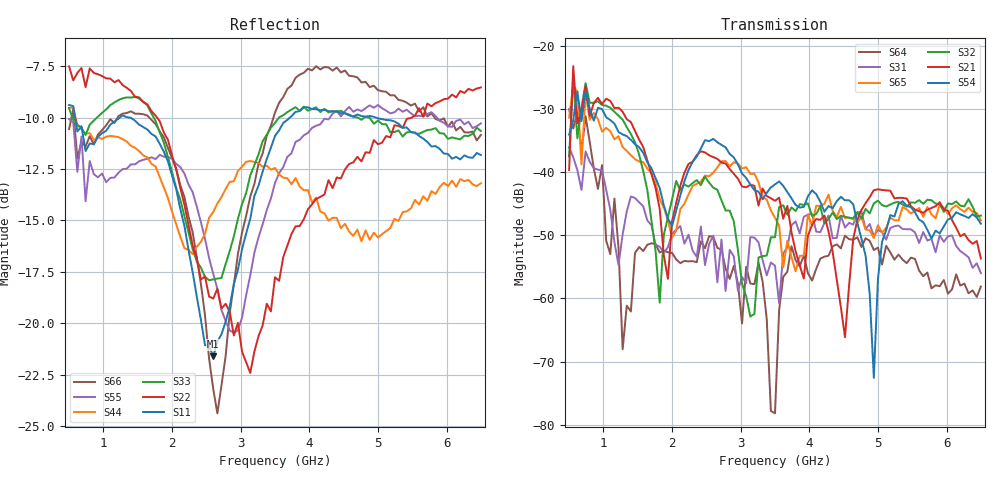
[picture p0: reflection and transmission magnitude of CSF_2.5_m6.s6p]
!Keysight Technologies,M9804A,MY58100912,A.14.10.03
!Date: Thursday, April 27, 2023 10:28:33
!Correction: S11(C  6-Port  )
!S12(C  6-Port  )
!S13(C  6-Port  )
!S14(C  6-Port  )
!S15(C  6-Port  )
!S16(C  6-Port  )
!S21(C  6-Port  )
!S22(C  6-Port  )
!S23(C  6-Port  )
!S24(C  6-Port  )
!S25(C  6-Port  )
!S26(C  6-Port  )
!S31(C  6-Port  )
!S32(C  6-Port  )
!S33(C  6-Port  )
!S34(C  6-Port  )
!S35(C  6-Port  )
!S36(C  6-Port  )
!S41(C  6-Port  )
!S42(C  6-Port  )
!S43(C  6-Port  )
!S44(C  6-Port  )
!S45(C  6-Port  )
!S46(C  6-Port  )
!S51(C  6-Port  )
!S52(C  6-Port  )
!S53(C  6-Port  )
!S54(C  6-Port  )
!S55(C  6-Port  )
!S56(C  6-Port  )
!S61(C  6-Port  )
!S62(C  6-Port  )
!S63(C  6-Port  )
!S64(C  6-Port  )
!S65(C  6-Port  )
!S66(C  6-Port  )
!S6P File: Measurement: :
# Hz S  RI  R 50
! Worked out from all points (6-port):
!   101 points, 500 MHz to 6.5 GHz, reference 50 ohm
!   strongest paths, dB at 500 MHz, 2 GHz, 3.5 GHz, 5 GHz, 6.5 GHz:
!     S54: -34.1, -48.5, -42.0, -57.0, -48.2
!     S21: -39.7, -47.8, -44.5, -42.7, -53.7
!     S32: -37.5, -44.3, -50.3, -44.5, -46.9
!     S65: -31.4, -50.4, -47.2, -48.4, -47.6
!     S31: -36.1, -49.8, -54.8, -49.2, -56.0
!     S64: -30.1, -52.8, -78.2, -51.9, -58.1
!   lowest |S11| = -21.6 dB at 2.6 GHz (marker M1), VSWR 1.18, Z = 42.6 + j2.05 ohm
!   |S11| at or under -10 dB: 587.4 MHz to 1.237 GHz (649.2 MHz wide, 71.2 % of centre); 1.396 GHz to 3.715 GHz (2.319 GHz wide, 90.7 % of centre); 4.974 GHz to end of sweep
